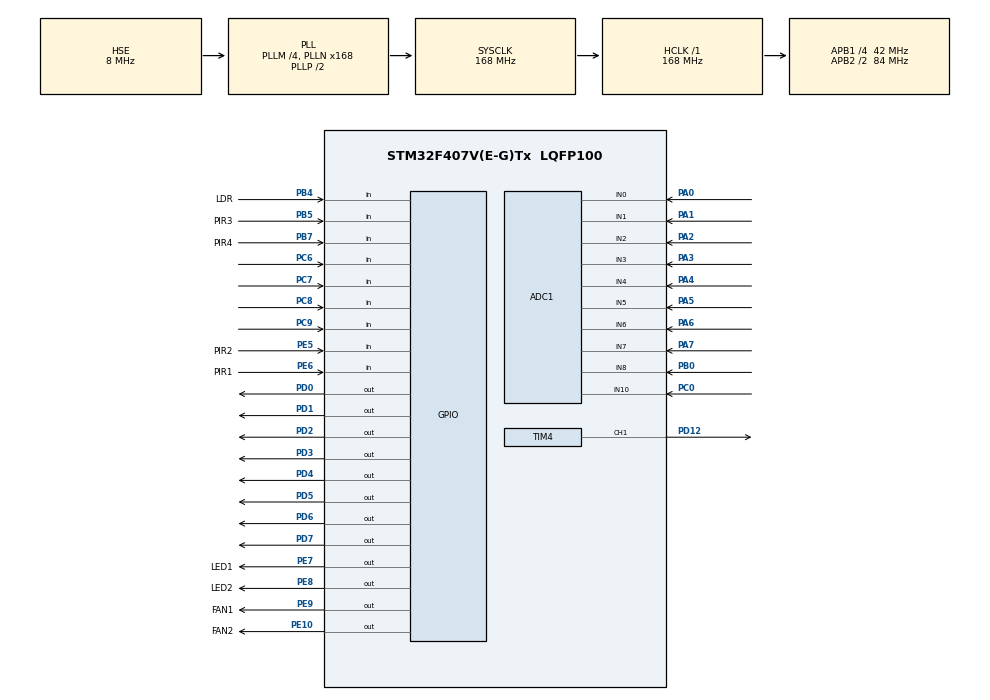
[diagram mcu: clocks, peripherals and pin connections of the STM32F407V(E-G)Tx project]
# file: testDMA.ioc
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ADC1.Channel-0\#ChannelRegularConversion=ADC_CHANNEL_0
ADC1.Channel-1\#ChannelRegularConversion=ADC_CHANNEL_1
ADC1.Channel-2\#ChannelRegularConversion=ADC_CHANNEL_2
ADC1.Channel-3\#ChannelRegularConversion=ADC_CHANNEL_3
ADC1.Channel-4\#ChannelRegularConversion=ADC_CHANNEL_4
ADC1.Channel-5\#ChannelRegularConversion=ADC_CHANNEL_10
ADC1.Channel-6\#ChannelRegularConversion=ADC_CHANNEL_5
ADC1.Channel-7\#ChannelRegularConversion=ADC_CHANNEL_6
ADC1.Channel-8\#ChannelRegularConversion=ADC_CHANNEL_7
ADC1.Channel-9\#ChannelRegularConversion=ADC_CHANNEL_8
ADC1.ContinuousConvMode=ENABLE
ADC1.DMAContinuousRequests=ENABLE
ADC1.NbrOfConversion=10
ADC1.NbrOfConversionFlag=1
ADC1.Rank-0\#ChannelRegularConversion=1
ADC1.Rank-1\#ChannelRegularConversion=2
ADC1.Rank-2\#ChannelRegularConversion=3
ADC1.Rank-3\#ChannelRegularConversion=4
ADC1.Rank-4\#ChannelRegularConversion=5
ADC1.Rank-5\#ChannelRegularConversion=6
ADC1.Rank-6\#ChannelRegularConversion=7
ADC1.Rank-7\#ChannelRegularConversion=8
ADC1.Rank-8\#ChannelRegularConversion=9
ADC1.Rank-9\#ChannelRegularConversion=10
ADC1.SamplingTime-0\#ChannelRegularConversion=ADC_SAMPLETIME_3CYCLES
ADC1.SamplingTime-1\#ChannelRegularConversion=ADC_SAMPLETIME_3CYCLES
ADC1.SamplingTime-2\#ChannelRegularConversion=ADC_SAMPLETIME_3CYCLES
ADC1.SamplingTime-3\#ChannelRegularConversion=ADC_SAMPLETIME_3CYCLES
ADC1.SamplingTime-4\#ChannelRegularConversion=ADC_SAMPLETIME_3CYCLES
ADC1.SamplingTime-5\#ChannelRegularConversion=ADC_SAMPLETIME_3CYCLES
ADC1.SamplingTime-6\#ChannelRegularConversion=ADC_SAMPLETIME_3CYCLES
ADC1.SamplingTime-7\#ChannelRegularConversion=ADC_SAMPLETIME_3CYCLES
ADC1.SamplingTime-8\#ChannelRegularConversion=ADC_SAMPLETIME_3CYCLES
ADC1.SamplingTime-9\#ChannelRegularConversion=ADC_SAMPLETIME_3CYCLES
ADC1.ScanConvMode=ENABLE
ADC1.master=1
Dma.ADC1.0.Direction=DMA_PERIPH_TO_MEMORY
Dma.ADC1.0.FIFOMode=DMA_FIFOMODE_ENABLE
Dma.ADC1.0.FIFOThreshold=DMA_FIFO_THRESHOLD_HALFFULL
Dma.ADC1.0.Instance=DMA2_Stream0
Dma.ADC1.0.MemBurst=DMA_MBURST_SINGLE
Dma.ADC1.0.MemDataAlignment=DMA_MDATAALIGN_HALFWORD
Dma.ADC1.0.MemInc=DMA_MINC_ENABLE
Dma.ADC1.0.Mode=DMA_CIRCULAR
Dma.ADC1.0.PeriphBurst=DMA_PBURST_SINGLE
Dma.ADC1.0.PeriphDataAlignment=DMA_PDATAALIGN_HALFWORD
Dma.ADC1.0.PeriphInc=DMA_PINC_DISABLE
Dma.ADC1.0.Priority=DMA_PRIORITY_LOW
Dma.Request0=ADC1
Mcu.Family=STM32F4
Mcu.Name=STM32F407V(E-G)Tx
Mcu.Package=LQFP100
NVIC.DMA2_Stream0_IRQn=true\:0\:0\:false\:false\:true\:true\:true
NVIC.PriorityGroup=NVIC_PRIORITYGROUP_4
NVIC.TIM1_BRK_TIM9_IRQn=true\:0\:0\:false\:false\:true\:true\:true
NVIC.TIM8_TRG_COM_TIM14_IRQn=true\:0\:0\:false\:false\:true\:true\:true
NVIC.TIM8_UP_TIM13_IRQn=true\:0\:0\:false\:false\:true\:true\:true
PA0-WKUP.Signal=ADCx_IN0
PA1.Signal=ADCx_IN1
PA2.Signal=ADCx_IN2
PA3.Signal=ADCx_IN3
PA4.Signal=ADCx_IN4
PA5.Signal=ADCx_IN5
PA6.Signal=ADCx_IN6
PA7.Signal=ADCx_IN7
PB0.Signal=ADCx_IN8
PB4.GPIO_Label=LDR
PB4.Signal=GPIO_Input
PB5.GPIO_Label=PIR3
PB5.Signal=GPIO_Input
PB7.GPIO_Label=PIR4
PB7.Signal=GPIO_Input
PC0.Signal=ADCx_IN10
PC6.Signal=GPIO_Input
PC7.Signal=GPIO_Input
PC8.Signal=GPIO_Input
PC9.Signal=GPIO_Input
PD0.Signal=GPIO_Output
PD1.Signal=GPIO_Output
PD12.GPIO_Speed=GPIO_SPEED_FREQ_VERY_HIGH
PD12.Signal=S_TIM4_CH1
PD2.Signal=GPIO_Output
PD3.Signal=GPIO_Output
PD4.Signal=GPIO_Output
PD5.Signal=GPIO_Output
PD6.Signal=GPIO_Output
PD7.Signal=GPIO_Output
PE10.GPIO_Label=FAN2
PE10.Signal=GPIO_Output
PE5.GPIO_Label=PIR2
PE5.Signal=GPIO_Input
PE6.GPIO_Label=PIR1
PE6.Signal=GPIO_Input
PE7.GPIO_Label=LED1
PE7.Signal=GPIO_Output
PE8.GPIO_Label=LED2
PE8.Signal=GPIO_Output
PE9.GPIO_Label=FAN1
PE9.Signal=GPIO_Output
PH0-OSC_IN.Mode=HSE-External-Oscillator
PH0-OSC_IN.Signal=RCC_OSC_IN
PH1-OSC_OUT.Mode=HSE-External-Oscillator
PH1-OSC_OUT.Signal=RCC_OSC_OUT
ProjectManager.HeapSize=0x200
ProjectManager.StackSize=0x400
ProjectManager.TargetToolchain=MDK-ARM V5
RCC.48MHZClocksFreq_Value=84000000
RCC.AHBFreq_Value=168000000
RCC.APB1CLKDivider=RCC_HCLK_DIV4
RCC.APB1Freq_Value=42000000
RCC.APB1TimFreq_Value=84000000
RCC.APB2CLKDivider=RCC_HCLK_DIV2
RCC.APB2Freq_Value=84000000
RCC.APB2TimFreq_Value=168000000
RCC.CortexFreq_Value=168000000
RCC.HCLKFreq_Value=168000000
RCC.HSE_VALUE=8000000
RCC.HSI_VALUE=16000000
RCC.LSE_VALUE=32768
RCC.PLLM=4
RCC.PLLN=168
RCC.PLLSourceVirtual=RCC_PLLSOURCE_HSE
RCC.SYSCLKFreq_VALUE=168000000
RCC.SYSCLKSource=RCC_SYSCLKSOURCE_PLLCLK
RCC.VCOOutputFreq_Value=336000000
SH.ADCx_IN0.0=ADC1_IN0,IN0
SH.ADCx_IN1.0=ADC1_IN1,IN1
SH.ADCx_IN10.0=ADC1_IN10,IN10
SH.ADCx_IN2.0=ADC1_IN2,IN2
SH.ADCx_IN3.0=ADC1_IN3,IN3
SH.ADCx_IN4.0=ADC1_IN4,IN4
SH.ADCx_IN5.0=ADC1_IN5,IN5
SH.ADCx_IN6.0=ADC1_IN6,IN6
SH.ADCx_IN7.0=ADC1_IN7,IN7
SH.ADCx_IN8.0=ADC1_IN8,IN8
SH.S_TIM4_CH1.0=TIM4_CH1,PWM Generation1 CH1
TIM13.Channel=TIM_CHANNEL_1
TIM13.Period=2099
TIM14.Channel=TIM_CHANNEL_1
TIM14.Period=16801
TIM4.Channel-PWM\ Generation1\ CH1=TIM_CHANNEL_1
TIM4.Period=2099
TIM4.Pulse-PWM\ Generation1\ CH1=5000
TIM9.Period=42041
TIM9.Prescaler=1
VP_TIM13_VS_ClockSourceINT.Mode=Enable_Timer
VP_TIM13_VS_no_output1.Mode=PWM Generation1 No Output
VP_TIM14_VS_ClockSourceINT.Mode=Enable_Timer
VP_TIM14_VS_no_output1.Mode=PWM Generation1 No Output
VP_TIM9_VS_ClockSourceINT.Mode=Internal
board=TUGAS AKHIR MOHAMMAD AGUNG DIRMAWAN

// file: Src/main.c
/**
  ******************************************************************************
  * File Name          : main.c
  * Description        : Main program body
  ******************************************************************************
  ** This notice applies to any and all portions of this file
  * that are not between comment pairs USER CODE BEGIN and
  * USER CODE END. Other portions of this file, whether
  * inserted by the user or by software development tools
  * are owned by their respective copyright owners.
  *
  * COPYRIGHT(c) 2022 STMicroelectronics
  *
  * Redistribution and use in source and binary forms, with or without modification,
  * are permitted provided that the following conditions are met:
  *   1. Redistributions of source code must retain the above copyright notice,
  *      this list of conditions and the following disclaimer.
  *   2. Redistributions in binary form must reproduce the above copyright notice,
  *      this list of conditions and the following disclaimer in the documentation
  *      and/or other materials provided with the distribution.
  *   3. Neither the name of STMicroelectronics nor the names of its contributors
  *      may be used to endorse or promote products derived from this software
  *      without specific prior written permission.
  *
  * THIS SOFTWARE IS PROVIDED BY THE COPYRIGHT HOLDERS AND CONTRIBUTORS "AS IS"
  * AND ANY EXPRESS OR IMPLIED WARRANTIES, INCLUDING, BUT NOT LIMITED TO, THE
  * IMPLIED WARRANTIES OF MERCHANTABILITY AND FITNESS FOR A PARTICULAR PURPOSE ARE
  * DISCLAIMED. IN NO EVENT SHALL THE COPYRIGHT HOLDER OR CONTRIBUTORS BE LIABLE
  * FOR ANY DIRECT, INDIRECT, INCIDENTAL, SPECIAL, EXEMPLARY, OR CONSEQUENTIAL
  * DAMAGES (INCLUDING, BUT NOT LIMITED TO, PROCUREMENT OF SUBSTITUTE GOODS OR
  * SERVICES; LOSS OF USE, DATA, OR PROFITS; OR BUSINESS INTERRUPTION) HOWEVER
  * CAUSED AND ON ANY THEORY OF LIABILITY, WHETHER IN CONTRACT, STRICT LIABILITY,
  * OR TORT (INCLUDING NEGLIGENCE OR OTHERWISE) ARISING IN ANY WAY OUT OF THE USE
  * OF THIS SOFTWARE, EVEN IF ADVISED OF THE POSSIBILITY OF SUCH DAMAGE.
  *
  ******************************************************************************
  */
#include "main.h"
#include "stm32f4xx_hal.h"

/* USER CODE BEGIN Includes */
#include "string.h"
#include "lcd_character.h"
#include "math.h"
#include "stdlib.h"
#define SampleData 3000 // maksimal sampel data
/* USER CODE END Includes */

ADC_HandleTypeDef hadc1;
DMA_HandleTypeDef hdma_adc1;

TIM_HandleTypeDef htim4;
TIM_HandleTypeDef htim9;
TIM_HandleTypeDef htim13;
TIM_HandleTypeDef htim14;

/* USER CODE BEGIN PV */

/* INISIALISASI RELAY */
int l=0, j=0;
/* INISIALISASI ADC */
__IO uint16_t ADC_value[10];

/* INISISALISASI PWM */
float pwm=1050,pwm1;
float duty;
char bufferduty[200];

/* INISISALISASI SENSOR */
double A1, Vsq1[SampleData], Vsum1, Vadc1;
double A2, Vsq2[SampleData], Vsum2, Vadc2;
double A3, Vsq3[SampleData], Vsum3, Vadc3;
double A4, Vsq4[SampleData], Vsum4, Vadc4;
double A5, Vsq5[SampleData], Vsum5, Vadc5;

double B1, Isq1[SampleData], Isum1, Iadc1;
double B2, Isq2[SampleData], Isum2, Iadc2;
double B3, Isq3[SampleData], Isum3, Iadc3;
double B4, Isq4[SampleData], Isum4, Iadc4;
double B5, Isq5[SampleData], Isum5, Iadc5;

//double A5, POsq5[SampleData], POsum5, POadc5;
float V1, V2, V3, V4, V5, I1, I2, I3, I4, I5, Vin1, Vin2, Vin3, Vin4, Vin5, Iin1, Iin2, Iin3, Iin4, Iin5, Pin,Po, DC, PWM;
int 	k=0, Z=0, a=0;
char  buffer_ADC_V1[200], buffer_ADC_V2[200], buffer_ADC_V3[200], buffer_ADC_V4[200], buffer_ADC_V5[200];
char  buffer_ADC_I1[200], buffer_ADC_I2[200], buffer_ADC_I3[200], buffer_ADC_I4[200], buffer_ADC_I5[200];
char  buffer_V_Input1[200], buffer_V_Input2[200], buffer_V_Input3[200], buffer_V_Input4[200], buffer_V_Input5[200];
char  buffer_A_Input1[200], buffer_A_Input2[200], buffer_A_Input3[200], buffer_A_Input4[200], buffer_A_Input5[200];
char  buffer_ADC_PO[200], buffer_ADC_POT[200];

/* Private variables ---------------------------------------------------------*/

/* USER CODE END PV */

void SystemClock_Config(void);
static void MX_GPIO_Init(void);
static void MX_DMA_Init(void);
static void MX_ADC1_Init(void);
static void MX_TIM4_Init(void);
static void MX_TIM9_Init(void);
static void MX_TIM13_Init(void);
static void MX_TIM14_Init(void);

void HAL_TIM_MspPostInit(TIM_HandleTypeDef *htim);

/* USER CODE BEGIN PFP */

/* Private function prototypes -----------------------------------------------*/

/* USER CODE END PFP */

/* USER CODE BEGIN 0 */
__IO uint16_t Nilai_ADC[10];
int on,i;

void HAL_TIM_PeriodElapsedCallback(TIM_HandleTypeDef *htim)
{
//////////// interrupt ADC (moving average) //////////// (Sampling Freq 5kHz)
 if (htim->Instance==TIM14)
	   {
				HAL_ADC_Start_DMA(&hadc1, (uint32_t*) &ADC_value,10); //ADC DMA 5 channel (DMA Continous Circular Half Word)

//////////// Sesuaikan kebutuhan ADC masing masing ////////////

//			 //Sensor Tegangan 1
//				Vadc1= ADC_value[9];
//				Vsum1-=Vsq1[k];
//				Vsq1[k]=Vadc1;
//				Vsum1+=Vsq1[k];
//				A1=Vsum1/SampleData;
////				Vin = (0.0123*A1) -0.1282 ;
//				//Vin = (0.0124*A1) - 0.0613;
//			 Vin1 = (0.00361880542627663 *A1) + 0.00292251531882836;
//			 //Vin=Sec;
//
//			 	//Sensor Tegangan 2
//				Vadc2= ADC_value[8];
//				Vsum2-=Vsq2[k];
//				Vsq2[k]=Vadc2;
//				Vsum2+=Vsq2[k];
//				A2=Vsum2/SampleData;
////				//Vo = (0.0123*A2) -0.1282 ;
//				Vin2 = (0.00360046269551241*A2) - 0.02327107067985370;
////
//				//Sensor Tegangan 3
//				Vadc3= ADC_value[7];
//				Vsum3-=Vsq3[k];
//				Vsq3[k]=Vadc3;
//				Vsum3+=Vsq3[k];
//				A3=Vsum3/SampleData;
//				//Vo = (0.0123*A2) -0.1282 ;
//				Vin3 = (0.00360695990713917*A3) - 0.01562676963846250;
//				//Vin3 = (0.00360046269551241*A3) - 0.02327107067985370;
////				//y = 0.00360695990713917x - 0.01562676963846250

////
//				//Sensor Tegangan 4
//				Vadc4= ADC_value[6];
//				Vsum4-=Vsq4[k];
//				Vsq4[k]=Vadc4;
//				Vsum4+=Vsq4[k];
//				A4=Vsum4/SampleData;
//				//Vo = (0.0123*A2) -0.1282 ;
//				Vin4 = (0.00360062885621475*A4) - 0.05964763175110030;
////
//				//Sensor Tegangan 5
//				Vadc5= ADC_value[5];
//				Vsum5-=Vsq5[k];
//				Vsq5[k]=Vadc5;
//				Vsum5+=Vsq5[k];
//				A5=Vsum5/SampleData;
//				//Vo = (0.0123*A2) -0.1282 ;
//				Vin5 = (0.00358939886026047*A5) - 0.05485033568183740;

			 //Sensor Arus 1
				Iadc1= ADC_value[5];
				Isum1-=Isq1[k];
				Isq1[k]=Iadc1;
				Isum1+=Isq1[k];
				B1=Isum1/SampleData;
//				//Iin1 =(0.0086*B1) - 17.674;
				Iin1 = (0.0147*B1) - 30.096;

//
			 	//Sensor Arus 2
				Iadc2= ADC_value[4];
				Isum2-=Isq2[k];
				Isq2[k]=Iadc2;
				Isum2+=Isq2[k];
				B2=Isum2/SampleData;
				//Iin1 = fabs((0.0086*B1) - 17.674);
				Iin2 = (0.0147*B2) - 30.096;
				//y = 0.00361208999745770x - 0.03304734834610130

////
				//Sensor Arus 3
				Iadc3= ADC_value[3];
				Isum3-=Isq3[k];
				Isq3[k]=Iadc3;
				Isum3+=Isq3[k];
				B3=Isum3/SampleData;
				//Iin1 = fabs((0.0086*B1) - 17.674);
				Iin3 = (0.0147*B3) - 30.096;
//
				//Sensor Arus 4
				Iadc4= ADC_value[2];
				Isum4-=Isq4[k];
				Isq4[k]=Iadc4;
				Isum4+=Isq4[k];
				B4=Isum4/SampleData;
				//Iin1 = fabs((0.0086*B1) - 17.674);
				Iin4 = ((0.0147*B4) - 28.096)*-1;
//
				//Sensor Arus 5
				Iadc5= ADC_value[1];
				Isum5-=Isq5[k];
				Isq5[k]=Iadc5;
				Isum5+=Isq5[k];
				B5=Isum5/SampleData;
				//Iin1 = fabs((0.0086*B1) - 17.674);
				Iin5 = (0.0147*B5) - 31.096;
//
//				Pin=Vin*Iin;
//				Po=Vo*Io;

//			  //ADC-PWM
//				POadc5= ADC_value[4];
//				POsum5-=POsq5[k];
//				POsq5[k]=POadc5;
//				POsum5+=POsq5[k];
//				A5=POsum5/SampleData;
//				DC = A5/4095.0*2099;
//				PWM = DC/2099*100;

				k++;
				if(k>=SampleData)
				k=0;
 				//SENSOR TEGANGAN INPUT ==> Mikro ADC_Value[0] PIN PA0 PCB ADC4
				//SENSOR TEGANGAN OUTPUT ==> Mikro ADC_Value[1] PIN PA1 PCB ADC3
				//SENSOR ARUS INPUT  ==> Mikro ADC_Value[2] PIN PA2 PCB ADC2
				//SENSOR ARUS OUTPUT ==>  ==> Mikro ADC_Value[3] PIN PA3 PCB ADC1
			  //POT PWM ==>  ==> Mikro ADC_Value[4] PIN PA4 PCB ADC0
	  }

	}

/* USER CODE END 0 */

int main(void)
{

  /* MCU Configuration----------------------------------------------------------*/

  /* Reset of all peripherals, Initializes the Flash interface and the Systick. */
  HAL_Init();

  /* Configure the system clock */
  SystemClock_Config();

  /* Initialize all configured peripherals */
  MX_GPIO_Init();
  MX_DMA_Init();
  MX_ADC1_Init();
  MX_TIM4_Init();
  MX_TIM9_Init();
  MX_TIM13_Init();
  MX_TIM14_Init();

  /* USER CODE BEGIN 2 */
	HAL_ADC_Start_DMA(&hadc1, (uint32_t*) &ADC_value,10);
	HAL_TIM_Base_Start_IT(&htim14); 																									// interrupt ADC
	HAL_TIM_Base_Start_IT(&htim13);  																									// Rencana interrupt PWM
//	HAL_TIM_Base_Start_IT(&htim9);
	HAL_TIM_Base_Start(&htim4);
	HAL_TIM_PWM_Start(&htim4,TIM_CHANNEL_1);

	lcd_init();
//	lcd_gotoxy(0,0);
//	//lcd_puts("UJI ALAT DAN SENSOR");
	//lcd_puts("Uji 4 Beban");

  /* USER CODE END 2 */

  /* Infinite loop */
	while (1)
  {

  /* USER CODE BEGIN 3 */
		if (HAL_GPIO_ReadPin(GPIOB, LDR_Pin)==0){
				HAL_GPIO_WritePin(GPIOE, LED1_Pin, GPIO_PIN_SET);
				HAL_GPIO_WritePin(GPIOE, LED2_Pin, GPIO_PIN_SET);
				lcd_gotoxy(18,0);
				lcd_puts("ON");
				lcd_gotoxy(18,1);
				lcd_puts("ON ");
			}

			else if (HAL_GPIO_ReadPin(GPIOB, LDR_Pin)==1 ){
				HAL_GPIO_WritePin(GPIOE, LED1_Pin, GPIO_PIN_RESET);
				HAL_GPIO_WritePin(GPIOE, LED2_Pin, GPIO_PIN_RESET);
				lcd_gotoxy(18,0);
				lcd_puts("OFF");
				lcd_gotoxy(18,1);
				lcd_puts("OFF");
			}

//		if (HAL_GPIO_ReadPin(GPIOB, PIR3_Pin)==0 && HAL_GPIO_ReadPin(GPIOB, PIR4_Pin)==0 ){
//				HAL_GPIO_WritePin(GPIOE, LED1_Pin, GPIO_PIN_RESET);
//				HAL_GPIO_WritePin(GPIOE, LED2_Pin, GPIO_PIN_RESET);
//				HAL_GPIO_WritePin(GPIOE, FAN1_Pin, GPIO_PIN_RESET);
//				HAL_GPIO_WritePin(GPIOE, FAN2_Pin, GPIO_PIN_RESET);
//				lcd_gotoxy(18,0);
//				lcd_puts("OFF");
//				lcd_gotoxy(18,1);
//				lcd_puts("OFF");
//				lcd_gotoxy(18,2);
//				lcd_puts("OFF");
//				lcd_gotoxy(18,3);
//				lcd_puts("OFF");
//			}
//
//
//			else if (HAL_GPIO_ReadPin(GPIOB, PIR3_Pin)==1 && HAL_GPIO_ReadPin(GPIOB, PIR4_Pin)==0 ){
//				HAL_GPIO_WritePin(GPIOE, LED1_Pin, GPIO_PIN_SET);
//				HAL_GPIO_WritePin(GPIOE, LED2_Pin, GPIO_PIN_RESET);
//				HAL_GPIO_WritePin(GPIOE, FAN1_Pin, GPIO_PIN_SET);
//				HAL_GPIO_WritePin(GPIOE, FAN2_Pin, GPIO_PIN_RESET);
//				lcd_gotoxy(18,0);
//				lcd_puts("ON ");
//				lcd_gotoxy(18,1);
//				lcd_puts("OFF");
//				lcd_gotoxy(18,2);
//				lcd_puts("ON ");
//				lcd_gotoxy(18,3);
//				lcd_puts("OFF");
//			}
//			else if (HAL_GPIO_ReadPin(GPIOB, PIR3_Pin)==0 && HAL_GPIO_ReadPin(GPIOB, PIR4_Pin)==1 ){
//				HAL_GPIO_WritePin(GPIOE, LED1_Pin, GPIO_PIN_RESET);
//				HAL_GPIO_WritePin(GPIOE, LED2_Pin, GPIO_PIN_SET);
//				HAL_GPIO_WritePin(GPIOE, FAN1_Pin, GPIO_PIN_RESET);
//				HAL_GPIO_WritePin(GPIOE, FAN2_Pin, GPIO_PIN_SET);
//				lcd_gotoxy(18,0);
//				lcd_puts("OFF");
//				lcd_gotoxy(18,1);
//				lcd_puts("ON ");
//				lcd_gotoxy(18,2);
//				lcd_puts("OFF");
//				lcd_gotoxy(18,3);
//				lcd_puts("ON ");
//			}
//
//			else if (HAL_GPIO_ReadPin(GPIOB, PIR3_Pin)==1 && HAL_GPIO_ReadPin(GPIOB, PIR4_Pin)==1 ){
//				HAL_GPIO_WritePin(GPIOE, LED1_Pin, GPIO_PIN_SET);
//				HAL_GPIO_WritePin(GPIOE, LED2_Pin, GPIO_PIN_SET);
//				HAL_GPIO_WritePin(GPIOE, FAN1_Pin, GPIO_PIN_SET);
//				HAL_GPIO_WritePin(GPIOE, FAN2_Pin, GPIO_PIN_SET);
//				lcd_gotoxy(18,0);
//				lcd_puts("ON ");
//				lcd_gotoxy(18,1);
//				lcd_puts("ON ");
//				lcd_gotoxy(18,2);
//				lcd_puts("ON ");
//				lcd_gotoxy(18,3);
//				lcd_puts("ON ");
//			}

//			if (HAL_GPIO_ReadPin(GPIOB, PIR3_Pin)==0 && HAL_GPIO_ReadPin(GPIOB, PIR4_Pin)==0 && HAL_GPIO_ReadPin(GPIOB, LDR_Pin)==1){
//				HAL_GPIO_WritePin(GPIOE, LED1_Pin, GPIO_PIN_RESET);
//				HAL_GPIO_WritePin(GPIOE, LED2_Pin, GPIO_PIN_RESET);
//				HAL_GPIO_WritePin(GPIOE, FAN1_Pin, GPIO_PIN_RESET);
//				HAL_GPIO_WritePin(GPIOE, FAN2_Pin, GPIO_PIN_RESET);
//				lcd_gotoxy(18,0);
//				lcd_puts("OFF");
//				lcd_gotoxy(18,1);
//				lcd_puts("OFF");
//				lcd_gotoxy(18,2);
//				lcd_puts("OFF");
//				lcd_gotoxy(18,3);
//				lcd_puts("OFF");
//			}
//
//
//			else if (HAL_GPIO_ReadPin(GPIOB, PIR3_Pin)==1 && HAL_GPIO_ReadPin(GPIOB, PIR4_Pin)==0 && HAL_GPIO_ReadPin(GPIOB, LDR_Pin)==1){
//				HAL_GPIO_WritePin(GPIOE, LED1_Pin, GPIO_PIN_SET);
//				HAL_GPIO_WritePin(GPIOE, LED2_Pin, GPIO_PIN_RESET);
//				HAL_GPIO_WritePin(GPIOE, FAN1_Pin, GPIO_PIN_SET);
//				HAL_GPIO_WritePin(GPIOE, FAN2_Pin, GPIO_PIN_RESET);
//				lcd_gotoxy(18,0);
//				lcd_puts("ON ");
//				lcd_gotoxy(18,1);
//				lcd_puts("OFF");
//				lcd_gotoxy(18,2);
//				lcd_puts("ON ");
//				lcd_gotoxy(18,3);
//				lcd_puts("OFF");
//			}
//			else if (HAL_GPIO_ReadPin(GPIOB, PIR3_Pin)==0 && HAL_GPIO_ReadPin(GPIOB, PIR4_Pin)==1 && HAL_GPIO_ReadPin(GPIOB, LDR_Pin)==1){
//				HAL_GPIO_WritePin(GPIOE, LED1_Pin, GPIO_PIN_RESET);
//				HAL_GPIO_WritePin(GPIOE, LED2_Pin, GPIO_PIN_SET);
//				HAL_GPIO_WritePin(GPIOE, FAN1_Pin, GPIO_PIN_RESET);
//				HAL_GPIO_WritePin(GPIOE, FAN2_Pin, GPIO_PIN_SET);
//				lcd_gotoxy(18,0);
//				lcd_puts("OFF");
//				lcd_gotoxy(18,1);
//				lcd_puts("ON ");
//				lcd_gotoxy(18,2);
//				lcd_puts("OFF");
//				lcd_gotoxy(18,3);
//				lcd_puts("ON ");
//			}
//
//			else if (HAL_GPIO_ReadPin(GPIOB, PIR3_Pin)==1 && HAL_GPIO_ReadPin(GPIOB, PIR4_Pin)==1 && HAL_GPIO_ReadPin(GPIOB, LDR_Pin)==1){
//				HAL_GPIO_WritePin(GPIOE, LED1_Pin, GPIO_PIN_SET);
//				HAL_GPIO_WritePin(GPIOE, LED2_Pin, GPIO_PIN_SET);
//				HAL_GPIO_WritePin(GPIOE, FAN1_Pin, GPIO_PIN_SET);
//				HAL_GPIO_WritePin(GPIOE, FAN2_Pin, GPIO_PIN_SET);
//				lcd_gotoxy(18,0);
//				lcd_puts("ON ");
//				lcd_gotoxy(18,1);
//				lcd_puts("ON ");
//				lcd_gotoxy(18,2);
//				lcd_puts("ON ");
//				lcd_gotoxy(18,3);
//				lcd_puts("ON ");
//			}
//

//			else if (HAL_GPIO_ReadPin(GPIOB, PIR3_Pin)==0 && HAL_GPIO_ReadPin(GPIOB, PIR4_Pin)==0 && HAL_GPIO_ReadPin(GPIOB, LDR_Pin)==0){
//				HAL_GPIO_WritePin(GPIOE, LED1_Pin, GPIO_PIN_SET);
//				HAL_GPIO_WritePin(GPIOE, LED2_Pin, GPIO_PIN_SET);
//				HAL_GPIO_WritePin(GPIOE, FAN1_Pin, GPIO_PIN_RESET);
//				HAL_GPIO_WritePin(GPIOE, FAN2_Pin, GPIO_PIN_RESET);
//				lcd_gotoxy(18,0);
//				lcd_puts("ON ");
//				lcd_gotoxy(18,1);
//				lcd_puts("ON ");
//				lcd_gotoxy(18,2);
//				lcd_puts("OFF");
//				lcd_gotoxy(18,3);
//				lcd_puts("OFF");}
//
//				else if (HAL_GPIO_ReadPin(GPIOB, PIR3_Pin)==1 && HAL_GPIO_ReadPin(GPIOB, PIR4_Pin)==1 && HAL_GPIO_ReadPin(GPIOB, LDR_Pin)==0){
//				HAL_GPIO_WritePin(GPIOE, LED1_Pin, GPIO_PIN_SET);
//				HAL_GPIO_WritePin(GPIOE, LED2_Pin, GPIO_PIN_SET);
//				HAL_GPIO_WritePin(GPIOE, FAN1_Pin, GPIO_PIN_SET);
//				HAL_GPIO_WritePin(GPIOE, FAN2_Pin, GPIO_PIN_SET);
//				lcd_gotoxy(18,0);
//				lcd_puts("ON ");
//				lcd_gotoxy(18,1);
//				lcd_puts("ON ");
//				lcd_gotoxy(18,2);
//				lcd_puts("ON ");
//				lcd_gotoxy(18,3);
//				lcd_puts("ON ");}
//
//				else if (HAL_GPIO_ReadPin(GPIOB, PIR3_Pin)==0 && HAL_GPIO_ReadPin(GPIOB, PIR4_Pin)==1 && HAL_GPIO_ReadPin(GPIOB, LDR_Pin)==0){
//				HAL_GPIO_WritePin(GPIOE, LED1_Pin, GPIO_PIN_SET);
//				HAL_GPIO_WritePin(GPIOE, LED2_Pin, GPIO_PIN_SET);
//				HAL_GPIO_WritePin(GPIOE, FAN1_Pin, GPIO_PIN_RESET);
//				HAL_GPIO_WritePin(GPIOE, FAN2_Pin, GPIO_PIN_SET);
//				lcd_gotoxy(18,0);
//				lcd_puts("ON ");
//				lcd_gotoxy(18,1);
//				lcd_puts("ON ");
//				lcd_gotoxy(18,2);
//				lcd_puts("OFF");
//				lcd_gotoxy(18,3);
//				lcd_puts("ON ");}
//
//				else if (HAL_GPIO_ReadPin(GPIOB, PIR3_Pin)==1 && HAL_GPIO_ReadPin(GPIOB, PIR4_Pin)==0 && HAL_GPIO_ReadPin(GPIOB, LDR_Pin)==0){
//				HAL_GPIO_WritePin(GPIOE, LED1_Pin, GPIO_PIN_SET);
//				HAL_GPIO_WritePin(GPIOE, LED2_Pin, GPIO_PIN_SET);
//				HAL_GPIO_WritePin(GPIOE, FAN1_Pin, GPIO_PIN_SET);
//				HAL_GPIO_WritePin(GPIOE, FAN2_Pin, GPIO_PIN_RESET);
//				lcd_gotoxy(18,0);
//				lcd_puts("ON ");
//				lcd_gotoxy(18,1);
//				lcd_puts("ON ");
//				lcd_gotoxy(18,2);
//				lcd_puts("ON ");
//				lcd_gotoxy(18,3);
//				lcd_puts("OFF");}

//		HAL_GPIO_TogglePin(GPIOE, LED1_Pin);

//		HAL_GPIO_WritePin(GPIOE, LED1_Pin, GPIO_PIN_RESET);
//		HAL_GPIO_WritePin(GPIOE, LED2_Pin, GPIO_PIN_RESET);
//		HAL_GPIO_WritePin(GPIOE, FAN1_Pin, GPIO_PIN_RESET);
//		HAL_GPIO_WritePin(GPIOE, FAN2_Pin, GPIO_PIN_RESET);

	//////// Tampilan V dan I ////////
//	lcd_gotoxy(0,0);
//	sprintf(buffer_V_Input1,"V1:%2.2f I1:%2.2f",Vin1,Iin1);
////	lcd_gotoxy(0,1);
////	sprintf(buffer_V_Input1,"V1:%2.2f",Vin1);
//	lcd_puts(buffer_V_Input1);
//	HAL_Delay(10);

	lcd_gotoxy(0,0);
	sprintf(buffer_V_Input2,"V2:%2.2f I2:%2.2f",Vin2,Iin2);
//		lcd_gotoxy(10,1);
//	sprintf(buffer_V_Input2,"V2:%2.2f",Vin2);
	lcd_puts(buffer_V_Input2);
	HAL_Delay(10);

	lcd_gotoxy(0,1);
	sprintf(buffer_V_Input3,"V3:%2.2f I3:%2.2f",Vin3,Iin3);
//	lcd_gotoxy(0,2);
//	sprintf(buffer_V_Input3,"V3:%2.2f",Vin3);
	lcd_puts(buffer_V_Input3);
	HAL_Delay(10);

	lcd_gotoxy(0,2);
	sprintf(buffer_V_Input4,"V4:%2.2f I4:%2.2f",Vin4,Iin4);
//	lcd_gotoxy(10,2);
//	sprintf(buffer_V_Input4,"V4:%2.2f",Vin4);
	lcd_puts(buffer_V_Input4);
	HAL_Delay(10);

	lcd_gotoxy(0,3);
	sprintf(buffer_V_Input5,"V5:%2.2f I5:%2.2f",Vin5,Iin5);
//	lcd_gotoxy(0,3);
//	sprintf(buffer_V_Input5,"V5:%2.2f",Vin5);
	lcd_puts(buffer_V_Input5);
	HAL_Delay(10);

	//////// Tampilan Konversi ADC ////////
//	lcd_gotoxy(0,1);
//	sprintf(buffer_V_Input1,"Vin:%4.0f Iin:%4.0f",A1,B1);
//	//sprintf(buffer_V_Input1,"V1:%4.0f",A1);
//	lcd_puts(buffer_V_Input1);
//	HAL_Delay(10);
//
//	lcd_gotoxy(0,2);
////	sprintf(buffer_V_Input2,"V2 :%4.0f I2 :%4.0f",A2,B2);
//	sprintf(buffer_V_Input2,"V2:%4.0f",A2);
//	lcd_puts(buffer_V_Input2);
//	HAL_Delay(10);

//	lcd_gotoxy(9,1);
////	sprintf(buffer_V_Input3,"V3:%4.0f I3:%4.0f",A3,B3);
//	sprintf(buffer_V_Input3,"V3:%4.0f",A3);
//	lcd_puts(buffer_V_Input3);
//	HAL_Delay(10);
////
//	lcd_gotoxy(9,2);
////	sprintf(buffer_V_Input4,"V4 :%4.0f I4 :%4.0f",A4,B4);
//	sprintf(buffer_V_Input4,"V4:%4.0f",A4);
//	lcd_puts(buffer_V_Input4);
//	HAL_Delay(10);

//	lcd_gotoxy(0,0);
////	sprintf(buffer_V_Input5,"V5 :%4.0f I5 :%4.0f",A5,B5);
//	sprintf(buffer_V_Input5,"V5:%4.0f",A5);
//	lcd_puts(buffer_V_Input5);
//	HAL_Delay(10);

	//////// PWM KONSTAN dan Tampilan //////////
	TIM4->CCR1 = 1470;
//	lcd_gotoxy(0,1);
//	sprintf(buffer_ADC_PO,"DUTY :%2.0f   ", PWM);
//lcd_puts ("DUTY : 70");
//	HAL_Delay(10);

	//////// Relay ////////
//
//	HAL_GPIO_WritePin(GPIOE, LED1_Pin, GPIO_PIN_SET);
//	HAL_GPIO_WritePin(GPIOE, LED2_Pin, GPIO_PIN_SET);
//	HAL_GPIO_WritePin(GPIOE, FAN1_Pin, GPIO_PIN_SET);
//	HAL_GPIO_WritePin(GPIOE, FAN2_Pin, GPIO_PIN_SET);

//	if (HAL_GPIO_ReadPin(GPIOC,GPIO_PIN_7))
//		l++;
//		if(l==1)
//		HAL_GPIO_WritePin(GPIOE,GPIO_PIN_14,GPIO_PIN_SET);
//		else
//		{
//			HAL_GPIO_WritePin(GPIOE,GPIO_PIN_14,GPIO_PIN_RESET);
//			l=0;
//		}
//	if (HAL_GPIO_ReadPin(GPIOC,GPIO_PIN_6))
//		j++;
//		if(j==1)
//		HAL_GPIO_WritePin(GPIOE,GPIO_PIN_13,GPIO_PIN_SET);
//		else
//		{
//			HAL_GPIO_WritePin(GPIOE,GPIO_PIN_13,GPIO_PIN_RESET);
//			j=0;
//		}
  }
  /* USER CODE END 3 */

}

/** System Clock Configuration
*/
void SystemClock_Config(void)
{

  RCC_OscInitTypeDef RCC_OscInitStruct;
  RCC_ClkInitTypeDef RCC_ClkInitStruct;

    /**Configure the main internal regulator output voltage
    */
  __HAL_RCC_PWR_CLK_ENABLE();

  __HAL_PWR_VOLTAGESCALING_CONFIG(PWR_REGULATOR_VOLTAGE_SCALE1);

    /**Initializes the CPU, AHB and APB busses clocks
    */
  RCC_OscInitStruct.OscillatorType = RCC_OSCILLATORTYPE_HSE;
  RCC_OscInitStruct.HSEState = RCC_HSE_ON;
  RCC_OscInitStruct.PLL.PLLState = RCC_PLL_ON;
  RCC_OscInitStruct.PLL.PLLSource = RCC_PLLSOURCE_HSE;
  RCC_OscInitStruct.PLL.PLLM = 4;
  RCC_OscInitStruct.PLL.PLLN = 168;
  RCC_OscInitStruct.PLL.PLLP = RCC_PLLP_DIV2;
  RCC_OscInitStruct.PLL.PLLQ = 4;
  if (HAL_RCC_OscConfig(&RCC_OscInitStruct) != HAL_OK)
  {
    _Error_Handler(__FILE__, __LINE__);
  }

    /**Initializes the CPU, AHB and APB busses clocks
    */
  RCC_ClkInitStruct.ClockType = RCC_CLOCKTYPE_HCLK|RCC_CLOCKTYPE_SYSCLK
                              |RCC_CLOCKTYPE_PCLK1|RCC_CLOCKTYPE_PCLK2;
  RCC_ClkInitStruct.SYSCLKSource = RCC_SYSCLKSOURCE_PLLCLK;
  RCC_ClkInitStruct.AHBCLKDivider = RCC_SYSCLK_DIV1;
  RCC_ClkInitStruct.APB1CLKDivider = RCC_HCLK_DIV4;
  RCC_ClkInitStruct.APB2CLKDivider = RCC_HCLK_DIV2;

  if (HAL_RCC_ClockConfig(&RCC_ClkInitStruct, FLASH_LATENCY_5) != HAL_OK)
  {
    _Error_Handler(__FILE__, __LINE__);
  }

    /**Configure the Systick interrupt time
    */
  HAL_SYSTICK_Config(HAL_RCC_GetHCLKFreq()/1000);

    /**Configure the Systick
    */
  HAL_SYSTICK_CLKSourceConfig(SYSTICK_CLKSOURCE_HCLK);

  /* SysTick_IRQn interrupt configuration */
  HAL_NVIC_SetPriority(SysTick_IRQn, 0, 0);
}

/* ADC1 init function */
static void MX_ADC1_Init(void)
{

  ADC_ChannelConfTypeDef sConfig;

    /**Configure the global features of the ADC (Clock, Resolution, Data Alignment and number of conversion)
    */
  hadc1.Instance = ADC1;
  hadc1.Init.ClockPrescaler = ADC_CLOCK_SYNC_PCLK_DIV4;
  hadc1.Init.Resolution = ADC_RESOLUTION_12B;
  hadc1.Init.ScanConvMode = ENABLE;
  hadc1.Init.ContinuousConvMode = ENABLE;
  hadc1.Init.DiscontinuousConvMode = DISABLE;
  hadc1.Init.ExternalTrigConvEdge = ADC_EXTERNALTRIGCONVEDGE_NONE;
  hadc1.Init.ExternalTrigConv = ADC_SOFTWARE_START;
  hadc1.Init.DataAlign = ADC_DATAALIGN_RIGHT;
  hadc1.Init.NbrOfConversion = 10;
  hadc1.Init.DMAContinuousRequests = ENABLE;
  hadc1.Init.EOCSelection = ADC_EOC_SINGLE_CONV;
  if (HAL_ADC_Init(&hadc1) != HAL_OK)
  {
    _Error_Handler(__FILE__, __LINE__);
  }

    /**Configure for the selected ADC regular channel its corresponding rank in the sequencer and its sample time.
    */
  sConfig.Channel = ADC_CHANNEL_0;
  sConfig.Rank = 1;
  sConfig.SamplingTime = ADC_SAMPLETIME_3CYCLES;
  if (HAL_ADC_ConfigChannel(&hadc1, &sConfig) != HAL_OK)
  {
    _Error_Handler(__FILE__, __LINE__);
  }

    /**Configure for the selected ADC regular channel its corresponding rank in the sequencer and its sample time.
    */
  sConfig.Channel = ADC_CHANNEL_1;
  sConfig.Rank = 2;
  if (HAL_ADC_ConfigChannel(&hadc1, &sConfig) != HAL_OK)
  {
    _Error_Handler(__FILE__, __LINE__);
  }

    /**Configure for the selected ADC regular channel its corresponding rank in the sequencer and its sample time.
    */
  sConfig.Channel = ADC_CHANNEL_2;
  sConfig.Rank = 3;
  if (HAL_ADC_ConfigChannel(&hadc1, &sConfig) != HAL_OK)
  {
    _Error_Handler(__FILE__, __LINE__);
  }

    /**Configure for the selected ADC regular channel its corresponding rank in the sequencer and its sample time.
    */
  sConfig.Channel = ADC_CHANNEL_3;
  sConfig.Rank = 4;
  if (HAL_ADC_ConfigChannel(&hadc1, &sConfig) != HAL_OK)
  {
    _Error_Handler(__FILE__, __LINE__);
  }

    /**Configure for the selected ADC regular channel its corresponding rank in the sequencer and its sample time.
    */
  sConfig.Channel = ADC_CHANNEL_4;
  sConfig.Rank = 5;
  if (HAL_ADC_ConfigChannel(&hadc1, &sConfig) != HAL_OK)
  {
    _Error_Handler(__FILE__, __LINE__);
  }

    /**Configure for the selected ADC regular channel its corresponding rank in the sequencer and its sample time.
    */
  sConfig.Channel = ADC_CHANNEL_10;
  sConfig.Rank = 6;
  if (HAL_ADC_ConfigChannel(&hadc1, &sConfig) != HAL_OK)
  {
    _Error_Handler(__FILE__, __LINE__);
  }

    /**Configure for the selected ADC regular channel its corresponding rank in the sequencer and its sample time.
    */
  sConfig.Channel = ADC_CHANNEL_5;
  sConfig.Rank = 7;
  if (HAL_ADC_ConfigChannel(&hadc1, &sConfig) != HAL_OK)
  {
    _Error_Handler(__FILE__, __LINE__);
  }

    /**Configure for the selected ADC regular channel its corresponding rank in the sequencer and its sample time.
    */
  sConfig.Channel = ADC_CHANNEL_6;
  sConfig.Rank = 8;
  if (HAL_ADC_ConfigChannel(&hadc1, &sConfig) != HAL_OK)
  {
    _Error_Handler(__FILE__, __LINE__);
  }

    /**Configure for the selected ADC regular channel its corresponding rank in the sequencer and its sample time.
    */
  sConfig.Channel = ADC_CHANNEL_7;
  sConfig.Rank = 9;
  if (HAL_ADC_ConfigChannel(&hadc1, &sConfig) != HAL_OK)
  {
    _Error_Handler(__FILE__, __LINE__);
  }

    /**Configure for the selected ADC regular channel its corresponding rank in the sequencer and its sample time.
    */
  sConfig.Channel = ADC_CHANNEL_8;
  sConfig.Rank = 10;
  if (HAL_ADC_ConfigChannel(&hadc1, &sConfig) != HAL_OK)
  {
    _Error_Handler(__FILE__, __LINE__);
  }

}

/* TIM4 init function */
static void MX_TIM4_Init(void)
{

  TIM_MasterConfigTypeDef sMasterConfig;
  TIM_OC_InitTypeDef sConfigOC;

  htim4.Instance = TIM4;
  htim4.Init.Prescaler = 0;
  htim4.Init.CounterMode = TIM_COUNTERMODE_UP;
  htim4.Init.Period = 2099;
  htim4.Init.ClockDivision = TIM_CLOCKDIVISION_DIV1;
  if (HAL_TIM_PWM_Init(&htim4) != HAL_OK)
  {
    _Error_Handler(__FILE__, __LINE__);
  }

  sMasterConfig.MasterOutputTrigger = TIM_TRGO_RESET;
  sMasterConfig.MasterSlaveMode = TIM_MASTERSLAVEMODE_DISABLE;
  if (HAL_TIMEx_MasterConfigSynchronization(&htim4, &sMasterConfig) != HAL_OK)
  {
    _Error_Handler(__FILE__, __LINE__);
  }

  sConfigOC.OCMode = TIM_OCMODE_PWM1;
  sConfigOC.Pulse = 5000;
  sConfigOC.OCPolarity = TIM_OCPOLARITY_HIGH;
  sConfigOC.OCFastMode = TIM_OCFAST_DISABLE;
  if (HAL_TIM_PWM_ConfigChannel(&htim4, &sConfigOC, TIM_CHANNEL_1) != HAL_OK)
  {
    _Error_Handler(__FILE__, __LINE__);
  }

  HAL_TIM_MspPostInit(&htim4);

}

/* TIM9 init function */
static void MX_TIM9_Init(void)
{

  TIM_ClockConfigTypeDef sClockSourceConfig;

  htim9.Instance = TIM9;
  htim9.Init.Prescaler = 1;
  htim9.Init.CounterMode = TIM_COUNTERMODE_UP;
  htim9.Init.Period = 42041;
  htim9.Init.ClockDivision = TIM_CLOCKDIVISION_DIV1;
  if (HAL_TIM_Base_Init(&htim9) != HAL_OK)
  {
    _Error_Handler(__FILE__, __LINE__);
  }

  sClockSourceConfig.ClockSource = TIM_CLOCKSOURCE_INTERNAL;
  if (HAL_TIM_ConfigClockSource(&htim9, &sClockSourceConfig) != HAL_OK)
  {
    _Error_Handler(__FILE__, __LINE__);
  }

}

/* TIM13 init function */
static void MX_TIM13_Init(void)
{

  TIM_OC_InitTypeDef sConfigOC;

  htim13.Instance = TIM13;
  htim13.Init.Prescaler = 0;
  htim13.Init.CounterMode = TIM_COUNTERMODE_UP;
  htim13.Init.Period = 2099;
  htim13.Init.ClockDivision = TIM_CLOCKDIVISION_DIV1;
  if (HAL_TIM_Base_Init(&htim13) != HAL_OK)
  {
    _Error_Handler(__FILE__, __LINE__);
  }

  if (HAL_TIM_PWM_Init(&htim13) != HAL_OK)
  {
    _Error_Handler(__FILE__, __LINE__);
  }

  sConfigOC.OCMode = TIM_OCMODE_PWM1;
  sConfigOC.Pulse = 0;
  sConfigOC.OCPolarity = TIM_OCPOLARITY_HIGH;
  sConfigOC.OCFastMode = TIM_OCFAST_DISABLE;
  if (HAL_TIM_PWM_ConfigChannel(&htim13, &sConfigOC, TIM_CHANNEL_1) != HAL_OK)
  {
    _Error_Handler(__FILE__, __LINE__);
  }

}

/* TIM14 init function */
static void MX_TIM14_Init(void)
{

  TIM_OC_InitTypeDef sConfigOC;

  htim14.Instance = TIM14;
  htim14.Init.Prescaler = 0;
  htim14.Init.CounterMode = TIM_COUNTERMODE_UP;
  htim14.Init.Period = 16801;
  htim14.Init.ClockDivision = TIM_CLOCKDIVISION_DIV1;
  if (HAL_TIM_Base_Init(&htim14) != HAL_OK)
  {
    _Error_Handler(__FILE__, __LINE__);
  }

  if (HAL_TIM_PWM_Init(&htim14) != HAL_OK)
  {
    _Error_Handler(__FILE__, __LINE__);
  }

  sConfigOC.OCMode = TIM_OCMODE_PWM1;
  sConfigOC.Pulse = 0;
  sConfigOC.OCPolarity = TIM_OCPOLARITY_HIGH;
  sConfigOC.OCFastMode = TIM_OCFAST_DISABLE;
  if (HAL_TIM_PWM_ConfigChannel(&htim14, &sConfigOC, TIM_CHANNEL_1) != HAL_OK)
  {
    _Error_Handler(__FILE__, __LINE__);
  }

}

static void MX_DMA_Init(void)
{
  /* DMA controller clock enable */
  __HAL_RCC_DMA2_CLK_ENABLE();

  /* DMA interrupt init */
  /* DMA2_Stream0_IRQn interrupt configuration */
  HAL_NVIC_SetPriority(DMA2_Stream0_IRQn, 0, 0);
  HAL_NVIC_EnableIRQ(DMA2_Stream0_IRQn);

}

/** Configure pins as
        * Analog
        * Input
        * Output
        * EVENT_OUT
        * EXTI
*/
static void MX_GPIO_Init(void)
{

  GPIO_InitTypeDef GPIO_InitStruct;

  /* GPIO Ports Clock Enable */
  __HAL_RCC_GPIOE_CLK_ENABLE();
  __HAL_RCC_GPIOH_CLK_ENABLE();
  __HAL_RCC_GPIOC_CLK_ENABLE();
  __HAL_RCC_GPIOA_CLK_ENABLE();
  __HAL_RCC_GPIOB_CLK_ENABLE();
  __HAL_RCC_GPIOD_CLK_ENABLE();

  /*Configure GPIO pin Output Level */
  HAL_GPIO_WritePin(GPIOE, LED1_Pin|LED2_Pin|FAN1_Pin|FAN2_Pin, GPIO_PIN_RESET);

  /*Configure GPIO pin Output Level */
  HAL_GPIO_WritePin(GPIOD, GPIO_PIN_0|GPIO_PIN_1|GPIO_PIN_2|GPIO_PIN_3
                          |GPIO_PIN_4|GPIO_PIN_5|GPIO_PIN_6|GPIO_PIN_7, GPIO_PIN_RESET);

  /*Configure GPIO pins : PIR2_Pin PIR1_Pin */
  GPIO_InitStruct.Pin = PIR2_Pin|PIR1_Pin;
  GPIO_InitStruct.Mode = GPIO_MODE_INPUT;
  GPIO_InitStruct.Pull = GPIO_NOPULL;
  HAL_GPIO_Init(GPIOE, &GPIO_InitStruct);

  /*Configure GPIO pins : LED1_Pin LED2_Pin FAN1_Pin FAN2_Pin */
  GPIO_InitStruct.Pin = LED1_Pin|LED2_Pin|FAN1_Pin|FAN2_Pin;
  GPIO_InitStruct.Mode = GPIO_MODE_OUTPUT_PP;
  GPIO_InitStruct.Pull = GPIO_NOPULL;
  GPIO_InitStruct.Speed = GPIO_SPEED_FREQ_LOW;
  HAL_GPIO_Init(GPIOE, &GPIO_InitStruct);

  /*Configure GPIO pins : PC6 PC7 PC8 PC9 */
  GPIO_InitStruct.Pin = GPIO_PIN_6|GPIO_PIN_7|GPIO_PIN_8|GPIO_PIN_9;
  GPIO_InitStruct.Mode = GPIO_MODE_INPUT;
  GPIO_InitStruct.Pull = GPIO_NOPULL;
  HAL_GPIO_Init(GPIOC, &GPIO_InitStruct);

  /*Configure GPIO pins : PD0 PD1 PD2 PD3
                           PD4 PD5 PD6 PD7 */
  GPIO_InitStruct.Pin = GPIO_PIN_0|GPIO_PIN_1|GPIO_PIN_2|GPIO_PIN_3
                          |GPIO_PIN_4|GPIO_PIN_5|GPIO_PIN_6|GPIO_PIN_7;
  GPIO_InitStruct.Mode = GPIO_MODE_OUTPUT_PP;
  GPIO_InitStruct.Pull = GPIO_NOPULL;
  GPIO_InitStruct.Speed = GPIO_SPEED_FREQ_LOW;
  HAL_GPIO_Init(GPIOD, &GPIO_InitStruct);

  /*Configure GPIO pins : LDR_Pin PIR3_Pin PIR4_Pin */
  GPIO_InitStruct.Pin = LDR_Pin|PIR3_Pin|PIR4_Pin;
  GPIO_InitStruct.Mode = GPIO_MODE_INPUT;
  GPIO_InitStruct.Pull = GPIO_NOPULL;
  HAL_GPIO_Init(GPIOB, &GPIO_InitStruct);

}

void _Error_Handler(char * file, int line)
{
  while(1)
  {
  }
}

/************************ (C) COPYRIGHT STMicroelectronics *****END OF FILE****/
